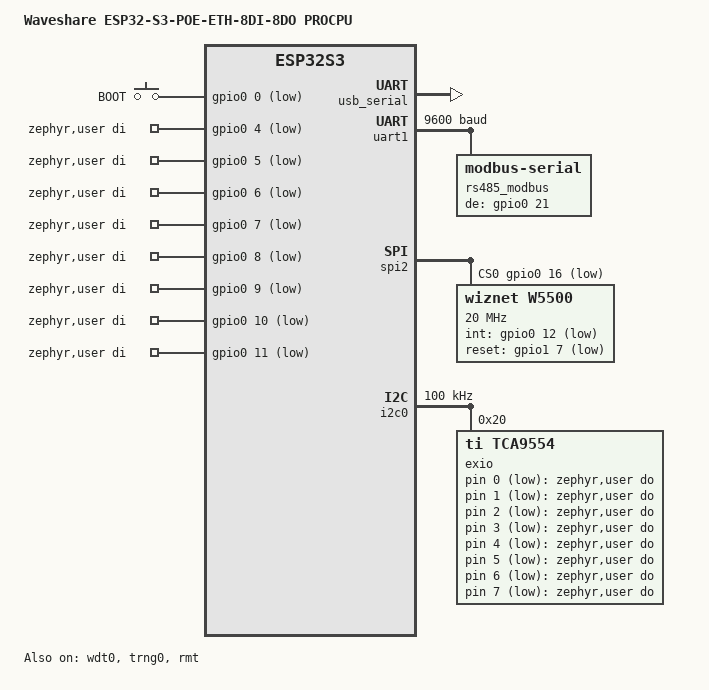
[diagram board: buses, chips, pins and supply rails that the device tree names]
/*
 * Waveshare ESP32-S3-POE-ETH-8DI-8DO, PRO CPU.
 *
 * Facts confirmed from the Waveshare wiki and its Arduino demo code
 * (ESP32-S3-POE-ETH-8DI-8DO-Demo.zip): see zephyr/README.md, section
 * "Datos de la placa", for the evidence and the confidence level.
 *
 * SPDX-License-Identifier: Apache-2.0
 */

/dts-v1/;

#include <espressif/esp32s3/esp32s3.dtsi>
#include <zephyr/dt-bindings/gpio/gpio.h>
#include <zephyr/dt-bindings/input/input-event-codes.h>
#include <zephyr/dt-bindings/led/led.h>
#include "esp32s3_poe_eth_8di_8do_partitions.dtsi"
#include "esp32s3_poe_eth_8di_8do-pinctrl.dtsi"

/ {
	model = "Waveshare ESP32-S3-POE-ETH-8DI-8DO PROCPU";
	compatible = "waveshare,esp32s3-poe-eth-8di-8do";

	aliases {
		watchdog0 = &wdt0;
		sw0 = &button_boot;
		status-led = &rgb_led;
		rtc = &rtc;
	};

	chosen {
		zephyr,sram = &sram1;
		zephyr,console = &usb_serial;
		zephyr,shell-uart = &usb_serial;
		zephyr,flash = &flash0;
		zephyr,code-partition = &slot0_partition;
		zephyr,settings-partition = &storage_partition;
		zephyr,canbus = &twai;
	};

	buttons {
		compatible = "gpio-keys";

		button_boot: button_boot {
			gpios = <&gpio0 0 (GPIO_PULL_UP | GPIO_ACTIVE_LOW)>;
			label = "BOOT";
			zephyr,code = <INPUT_KEY_0>;
		};
	};

	/*
	 * Field I/O for applications (there is no generic binding for plain
	 * digital I/O channels).
	 *
	 * di-gpios: opto-isolated inputs DI1..DI8 = GPIO4..GPIO11. The pin is
	 * pulled up and the energised optocoupler pulls it low: active low.
	 *
	 * do-gpios: Darlington sink outputs DO1..DO8 = TCA9554 EXIO1..EXIO8.
	 * A low expander pin turns the output on: active low.
	 */
	zephyr,user {
		di-gpios = <&gpio0 4 (GPIO_PULL_UP | GPIO_ACTIVE_LOW)>,
			   <&gpio0 5 (GPIO_PULL_UP | GPIO_ACTIVE_LOW)>,
			   <&gpio0 6 (GPIO_PULL_UP | GPIO_ACTIVE_LOW)>,
			   <&gpio0 7 (GPIO_PULL_UP | GPIO_ACTIVE_LOW)>,
			   <&gpio0 8 (GPIO_PULL_UP | GPIO_ACTIVE_LOW)>,
			   <&gpio0 9 (GPIO_PULL_UP | GPIO_ACTIVE_LOW)>,
			   <&gpio0 10 (GPIO_PULL_UP | GPIO_ACTIVE_LOW)>,
			   <&gpio0 11 (GPIO_PULL_UP | GPIO_ACTIVE_LOW)>;
		do-gpios = <&exio 0 GPIO_ACTIVE_LOW>, <&exio 1 GPIO_ACTIVE_LOW>,
			   <&exio 2 GPIO_ACTIVE_LOW>, <&exio 3 GPIO_ACTIVE_LOW>,
			   <&exio 4 GPIO_ACTIVE_LOW>, <&exio 5 GPIO_ACTIVE_LOW>,
			   <&exio 6 GPIO_ACTIVE_LOW>, <&exio 7 GPIO_ACTIVE_LOW>;
	};

	/* RGB status LED on GPIO38; the demo sends the bytes in R, G, B order. */
	rgb_led: rgb-led {
		compatible = "worldsemi,ws2812-pulse-io";
		pulse-ios = <&rmt 0>;
		chain-length = <1>;
		color-mapping = <LED_COLOR_ID_RED LED_COLOR_ID_GREEN LED_COLOR_ID_BLUE>;
	};
};

&psram0 {
	size = <DT_SIZE_M(8)>;
};

&gpio0 {
	status = "okay";
};

&gpio1 {
	status = "okay";
};

&usb_serial {
	status = "okay";
};

&wdt0 {
	status = "okay";
};

&trng0 {
	status = "okay";
};

&rmt {
	pinctrl-0 = <&rmt_led>;
	pinctrl-names = "default";
	status = "okay";
};

/* Isolated RS485 transceiver on UART1, DE/RTS on GPIO21 (active high). */
&uart1 {
	status = "okay";
	current-speed = <9600>;
	pinctrl-0 = <&uart1_rs485>;
	pinctrl-names = "default";

	rs485_modbus: rs485-modbus {
		compatible = "zephyr,modbus-serial";
		status = "okay";
		de-gpios = <&gpio0 21 GPIO_ACTIVE_HIGH>;
	};
};

/* W5500 Ethernet controller (MACRAW mode with the Zephyr IP stack). */
&spi2 {
	#address-cells = <1>;
	#size-cells = <0>;
	status = "okay";
	pinctrl-0 = <&spim2_w5500>;
	pinctrl-names = "default";
	cs-gpios = <&gpio0 16 GPIO_ACTIVE_LOW>;

	w5500: ethernet@0 {
		compatible = "wiznet,w5500";
		reg = <0x0>;
		spi-max-frequency = <20000000>;
		int-gpios = <&gpio0 12 GPIO_ACTIVE_LOW>;
		reset-gpios = <&gpio1 7 GPIO_ACTIVE_LOW>; /* GPIO39 */
	};
};

&i2c0 {
	status = "okay";
	clock-frequency = <I2C_BITRATE_STANDARD>;
	pinctrl-0 = <&i2c0_default>;
	pinctrl-names = "default";

	/* TCA9554 EXIO1..8 -> DO1..DO8. A low pin turns the Darlington on. */
	exio: gpio@20 {
		compatible = "ti,tca9554";
		reg = <0x20>;
		gpio-controller;
		#gpio-cells = <2>;
		ngpios = <8>;
	};

	rtc: rtc@51 {
		compatible = "nxp,pcf85063a";
		reg = <0x51>;
		int1-gpios = <&gpio1 8 GPIO_ACTIVE_LOW>; /* GPIO40 */
		status = "disabled"; /* TIME-2 is not part of the MVP */
	};
};

/* Passive buzzer (PWM), not used by the MVP. */
&ledc0 {
	pinctrl-0 = <&ledc0_buzzer>;
	pinctrl-names = "default";
	#address-cells = <1>;
	#size-cells = <0>;
	status = "disabled";

	channel0@0 {
		reg = <0x0>;
		timer = <0>;
	};
};

&twai {
	pinctrl-0 = <&twai_default>;
	pinctrl-names = "default";
	status = "disabled"; /* CAN is not part of the product spec */
};

/* microSD: 1-bit SD bus, CLK 48, CMD 47, D0 45 (D1..D3 not connected). */
&sdhc {
	status = "disabled";
};

&sdhc1 {
	status = "disabled";
	bus-width = <1>;
	clk-pin = <48>;
	cmd-pin = <47>;
	d0-pin = <45>;
};
